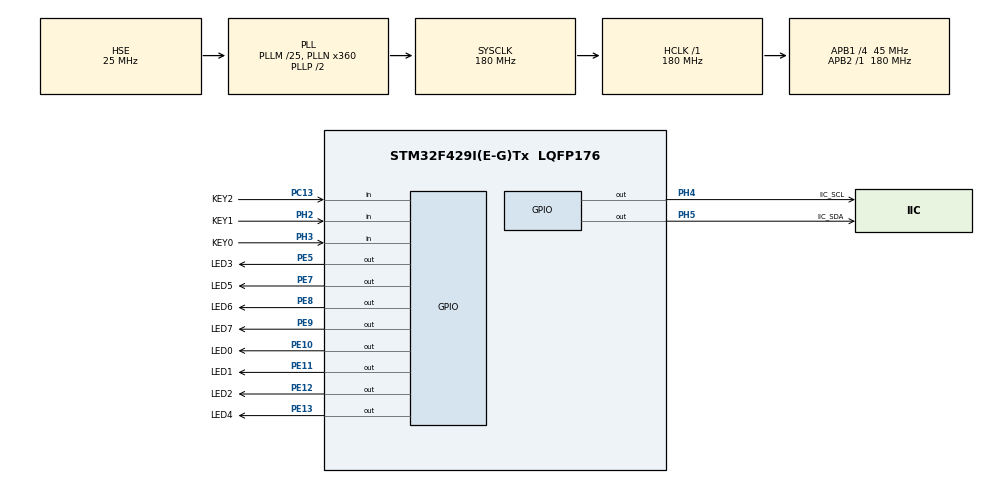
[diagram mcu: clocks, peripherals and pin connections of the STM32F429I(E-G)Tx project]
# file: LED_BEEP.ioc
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Mcu.Family=STM32F4
Mcu.Name=STM32F429I(E-G)Tx
Mcu.Package=LQFP176
NVIC.PriorityGroup=NVIC_PRIORITYGROUP_4
PA13.Mode=Serial_Wire
PA13.Signal=SYS_JTMS-SWDIO
PA14.Mode=Serial_Wire
PA14.Signal=SYS_JTCK-SWCLK
PC13.GPIO_Label=KEY2
PC13.GPIO_PuPd=GPIO_PULLUP
PC13.Signal=GPIO_Input
PE10.GPIO_Label=LED0
PE10.GPIO_ModeDefaultOutputPP=GPIO_MODE_OUTPUT_PP
PE10.GPIO_PuPd=GPIO_PULLUP
PE10.GPIO_Speed=GPIO_SPEED_FREQ_HIGH
PE10.PinState=GPIO_PIN_SET
PE10.Signal=GPIO_Output
PE11.GPIO_Label=LED1
PE11.GPIO_ModeDefaultOutputPP=GPIO_MODE_OUTPUT_PP
PE11.GPIO_PuPd=GPIO_PULLUP
PE11.GPIO_Speed=GPIO_SPEED_FREQ_HIGH
PE11.PinState=GPIO_PIN_SET
PE11.Signal=GPIO_Output
PE12.GPIO_Label=LED2
PE12.GPIO_ModeDefaultOutputPP=GPIO_MODE_OUTPUT_PP
PE12.GPIO_PuPd=GPIO_PULLUP
PE12.GPIO_Speed=GPIO_SPEED_FREQ_HIGH
PE12.PinState=GPIO_PIN_SET
PE12.Signal=GPIO_Output
PE13.GPIO_Label=LED4
PE13.GPIO_ModeDefaultOutputPP=GPIO_MODE_OUTPUT_PP
PE13.GPIO_PuPd=GPIO_PULLUP
PE13.GPIO_Speed=GPIO_SPEED_FREQ_HIGH
PE13.PinState=GPIO_PIN_SET
PE13.Signal=GPIO_Output
PE5.GPIO_Label=LED3
PE5.GPIO_ModeDefaultOutputPP=GPIO_MODE_OUTPUT_PP
PE5.GPIO_PuPd=GPIO_PULLUP
PE5.GPIO_Speed=GPIO_SPEED_FREQ_HIGH
PE5.PinState=GPIO_PIN_SET
PE5.Signal=GPIO_Output
PE7.GPIO_Label=LED5
PE7.GPIO_ModeDefaultOutputPP=GPIO_MODE_OUTPUT_PP
PE7.GPIO_PuPd=GPIO_PULLUP
PE7.GPIO_Speed=GPIO_SPEED_FREQ_HIGH
PE7.PinState=GPIO_PIN_SET
PE7.Signal=GPIO_Output
PE8.GPIO_Label=LED6
PE8.GPIO_ModeDefaultOutputPP=GPIO_MODE_OUTPUT_PP
PE8.GPIO_PuPd=GPIO_PULLUP
PE8.GPIO_Speed=GPIO_SPEED_FREQ_HIGH
PE8.PinState=GPIO_PIN_SET
PE8.Signal=GPIO_Output
PE9.GPIO_Label=LED7
PE9.GPIO_ModeDefaultOutputPP=GPIO_MODE_OUTPUT_PP
PE9.GPIO_PuPd=GPIO_PULLUP
PE9.GPIO_Speed=GPIO_SPEED_FREQ_HIGH
PE9.PinState=GPIO_PIN_SET
PE9.Signal=GPIO_Output
PH4.GPIO_Label=IIC_SCL
PH4.GPIO_ModeDefaultOutputPP=GPIO_MODE_OUTPUT_OD
PH4.GPIO_PuPd=GPIO_PULLUP
PH4.GPIO_Speed=GPIO_SPEED_FREQ_HIGH
PH4.PinState=GPIO_PIN_SET
PH4.Signal=GPIO_Output
PH5.GPIO_Label=IIC_SDA
PH5.GPIO_ModeDefaultOutputPP=GPIO_MODE_OUTPUT_OD
PH5.GPIO_PuPd=GPIO_PULLUP
PH5.GPIO_Speed=GPIO_SPEED_FREQ_HIGH
PH5.PinState=GPIO_PIN_SET
PH5.Signal=GPIO_Output
PH0/OSC_IN.Mode=HSE-External-Oscillator
PH0/OSC_IN.Signal=RCC_OSC_IN
PH1/OSC_OUT.Mode=HSE-External-Oscillator
PH1/OSC_OUT.Signal=RCC_OSC_OUT
PH2.GPIO_Label=KEY1
PH2.GPIO_PuPd=GPIO_PULLUP
PH2.Signal=GPIO_Input
PH3.GPIO_Label=KEY0
PH3.GPIO_PuPd=GPIO_PULLUP
PH3.Signal=GPIO_Input
ProjectManager.HeapSize=0x200
ProjectManager.StackSize=0x400
ProjectManager.TargetToolchain=Makefile
RCC.48MHZClocksFreq_Value=90000000
RCC.AHBFreq_Value=180000000
RCC.APB1CLKDivider=RCC_HCLK_DIV4
RCC.APB1Freq_Value=45000000
RCC.APB1TimFreq_Value=90000000
RCC.APB2Freq_Value=180000000
RCC.APB2TimFreq_Value=180000000
RCC.CortexFreq_Value=180000000
RCC.HCLKFreq_Value=180000000
RCC.HSE_VALUE=25000000
RCC.HSI_VALUE=16000000
RCC.LSE_VALUE=32768
RCC.PLLM=25
RCC.PLLN=360
RCC.PLLSourceVirtual=RCC_PLLSOURCE_HSE
RCC.SYSCLKFreq_VALUE=180000000
RCC.SYSCLKSource=RCC_SYSCLKSOURCE_PLLCLK
RCC.USBFreq_Value=48000000
RCC.VCOOutputFreq_Value=360000000
board=custom

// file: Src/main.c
/* USER CODE BEGIN Header */
/**
  ******************************************************************************
  * @file           : main.c
  * @brief          : 跑马灯 + 蜂鸣器实验  （正点原子阿波罗 V2 STM32F429）
  ******************************************************************************
  * 硬件（正点原子阿波罗 V2 STM32F429 + DNF429-EB 实验箱面包板）
  * ---------------------------------------------------------------------------
  *  8 个外接 LED（低电平点亮）：
  *      LED0 = PE10   LED1 = PE11   LED2 = PE12   LED3 = PE5
  *      LED4 = PE13   LED5 = PE7    LED6 = PE8    LED7 = PE9
  *  4 个按键：
  *      KEY0 = PH3    KEY1 = PH2    KEY2 = PC13   （低电平有效，上拉）
  *      KEY_UP = PA0                              （高电平有效，下拉）
  *  蜂鸣器（板载有源蜂鸣器，不在 GPIO 上！）：
  *      BEEP -> PCF8574（IIC IO 扩展芯片）的 P0
  *      IIC 总线：SCL = PH4，SDA = PH5，器件地址 0x20
  *      驱动：S8550(PNP) 高边开关 -> P0 拉低时鸣响（低电平有效）
  *      实现见 pcf8574.c（软件模拟 IIC）
  *
  * 操作方式：
  *      KEY0 / KEY1 / KEY2 短按 -> 切换特效 0 / 1 / 2
  *      KEY_UP 短按             -> 切换特效 3
  *      KEY_UP 长按(>=600ms)    -> 进入 / 退出"呼吸灯"模式（选做部分）
  *      每次有效按下蜂鸣器只响一次
  *
  * 呼吸灯（选做部分：PWM 占空比渐变实现亮度平滑变化）
  *      8 个 LED 无法全部用硬件 PWM：PE7 只有 TIM1_ETR(外部触发输入)，
  *      PE8/PE10/PE12 只能作 TIM1 的互补输出，因此改用 TIM7 中断做软件 PWM：
  *      20kHz 中断 + 100 级分辨率 -> 200Hz PWM，
  *      占空比按余弦曲线 0 -> 100 -> 0 渐变，8 个灯完全同步呼吸。
  *      实现见 softpwm.c / softpwm.h
  *
  * 系统时钟：HSE 25MHz（PH0/PH1）-> PLL -> 180MHz
  * 调试接口：SWD（PA13/PA14）
  ******************************************************************************
  */
/* USER CODE END Header */
#include "main.h"
#include "gpio.h"
#include "pcf8574.h"
#include "softpwm.h"

/* USER CODE BEGIN PTD */
/* 外设引脚描述：端口 / 引脚 / 有效电平 */
typedef struct
{
  GPIO_TypeDef *port;
  uint16_t      pin;
  GPIO_PinState active_state;
} AppGpioPin;
/* USER CODE END PTD */

/* USER CODE BEGIN PD */
#define LED_COUNT           8U      /* LED 数量 */
#define KEY_COUNT           4U      /* 按键数量 */
#define KEY_DEBOUNCE_MS     20U     /* 按键消抖时间(ms) */
#define EFFECT_INTERVAL_MS  150U    /* 灯效每步间隔(ms) */
#define BEEP_TIME_MS        80U     /* 蜂鸣器鸣响时长(ms) */

#define BEEP_BOOT_SELFTEST  1U      /* 上电"滴"一声：验证 IIC 链路与蜂鸣器 */

/* ---- 呼吸灯（选做部分：PWM 占空比渐变）---- */
#define BREATH_STEPS        64U     /* 一个完整呼吸周期的级数 */
#define BREATH_STEP_MS      40U     /* 每级保持时间(ms)，64*40ms -> 周期约 2.56s */
#define KEY_LONGPRESS_MS    600U    /* KEY_UP 长按判定门限(ms) */
#define KEY_UP_INDEX        3U      /* KEY_UP 在 key_pins[] 中的下标 */

/* KEY_UP 手势判定结果 */
#define KEY_GESTURE_NONE    0U
#define KEY_GESTURE_SHORT   1U      /* 短按：走原来的特效 3 */
#define KEY_GESTURE_LONG    2U      /* 长按：进入 / 退出呼吸灯 */

/* 第 4 个按键 KEY_UP 接在 PA0（WKUP 引脚），CubeMX 不生成其宏，在此定义 */
#ifndef KEY_UP_Pin
#define KEY_UP_Pin          GPIO_PIN_0
#define KEY_UP_GPIO_Port    GPIOA
#endif
/* USER CODE END PD */

/* USER CODE BEGIN PM */
/* 取反：由有效电平推出无效电平 */
#define INACTIVE_STATE(active) ((active) == GPIO_PIN_SET ? GPIO_PIN_RESET : GPIO_PIN_SET)
/* USER CODE END PM */

/* USER CODE BEGIN PV */
/* 8 个 LED 引脚表（顺序即跑马灯顺序），低电平点亮 */
static const AppGpioPin led_pins[LED_COUNT] =
{
  {GPIOE, GPIO_PIN_10, GPIO_PIN_RESET},   /* LED0 */
  {GPIOE, GPIO_PIN_11, GPIO_PIN_RESET},   /* LED1 */
  {GPIOE, GPIO_PIN_12, GPIO_PIN_RESET},   /* LED2 */
  {GPIOE, GPIO_PIN_5,  GPIO_PIN_RESET},   /* LED3 */
  {GPIOE, GPIO_PIN_13, GPIO_PIN_RESET},   /* LED4 */
  {GPIOE, GPIO_PIN_7,  GPIO_PIN_RESET},   /* LED5 */
  {GPIOE, GPIO_PIN_8,  GPIO_PIN_RESET},   /* LED6 */
  {GPIOE, GPIO_PIN_9,  GPIO_PIN_RESET}    /* LED7 */
};

/* 4 个按键：前 3 个低电平有效(上拉)，KEY_UP 高电平有效(下拉) */
static const AppGpioPin key_pins[KEY_COUNT] =
{
  {KEY0_GPIO_Port,   KEY0_Pin,   GPIO_PIN_RESET},   /* PH3  低电平有效 */
  {KEY1_GPIO_Port,   KEY1_Pin,   GPIO_PIN_RESET},   /* PH2  低电平有效 */
  {KEY2_GPIO_Port,   KEY2_Pin,   GPIO_PIN_RESET},   /* PC13 低电平有效 */
  {KEY_UP_GPIO_Port, KEY_UP_Pin, GPIO_PIN_SET}      /* PA0  高电平有效 */
};

/* 按键消抖用：原始值 / 已确认稳态 / 变化时刻 */
static GPIO_PinState key_last_raw[KEY_COUNT];
static GPIO_PinState key_stable[KEY_COUNT];
static uint32_t      key_changed_tick[KEY_COUNT];

/* 灯效状态机 */
static uint8_t  effect_mode      = 0U;  /* 当前特效 0..3 */
static uint8_t  effect_step      = 0U;  /* 当前步进 */
static uint32_t last_effect_tick = 0U;  /* 上次刷新时刻 */
static uint8_t  effect_refresh   = 1U;  /* 1 = 立即刷新 */

/* 蜂鸣器自动关断时刻 + PCF8574 是否就绪 */
static uint32_t beep_stop_tick = 0U;
static uint8_t  beep_ready     = 0U;

/* 呼吸灯模式（选做部分） */
static uint8_t  breath_mode  = 0U;  /* 1 = 当前处于呼吸灯模式 */
static uint8_t  breath_index = 0U;  /* 当前处于占空比表中的第几级 */
static uint32_t breath_tick  = 0U;  /* 上一级亮度的刷新时刻 */
/* USER CODE END PV */

void SystemClock_Config(void);
/* USER CODE BEGIN PFP */
static void APP_GPIO_Init(void);
static void Keys_Init(void);
static uint8_t Key_Update_Debounce(void);
static int8_t Scan_Effect_Key(uint8_t changed_mask);
static uint8_t Scan_KeyUp_Gesture(uint8_t changed_mask);
static void Select_Effect(uint8_t mode);
static void Run_Effect_Task(void);
static void Write_Leds(uint8_t pattern);
static void All_Leds_Off(void);
static void Breath_Init(void);
static void Breath_Toggle(void);
static void Run_Breath_Task(void);
static void Buzzer_Init(void);
static void Buzzer_Write(uint8_t on);
static void Buzzer_Beep(uint32_t duration_ms);
static void Buzzer_Task(void);
/* USER CODE END PFP */

/* USER CODE BEGIN 0 */
/**
  * @brief  应用层 GPIO 初始化
  *         LED -> 推挽输出；按键 -> 输入（按有效电平选上下拉）
  *         注意：PA0(KEY_UP) CubeMX 未生成，这里手动初始化
  *         蜂鸣器不在 GPIO 上（走 PCF8574），见 Buzzer_Init()
  */
static void APP_GPIO_Init(void)
{
  GPIO_InitTypeDef GPIO_InitStruct = {0};

  /* 使能所需端口时钟 */
  __HAL_RCC_GPIOE_CLK_ENABLE();
  __HAL_RCC_GPIOH_CLK_ENABLE();
  __HAL_RCC_GPIOC_CLK_ENABLE();
  __HAL_RCC_GPIOA_CLK_ENABLE();

  /* ---- 8 个 LED：推挽输出、上拉、高速 ---- */
  GPIO_InitStruct.Mode  = GPIO_MODE_OUTPUT_PP;
  GPIO_InitStruct.Pull  = GPIO_PULLUP;
  GPIO_InitStruct.Speed = GPIO_SPEED_FREQ_HIGH;
  for (uint8_t i = 0U; i < LED_COUNT; i++)
  {
    GPIO_InitStruct.Pin = led_pins[i].pin;
    HAL_GPIO_Init(led_pins[i].port, &GPIO_InitStruct);
  }
  All_Leds_Off();                       /* 上电全灭 */

  /* ---- 4 个按键：输入；低电平有效上拉、高电平有效下拉 ---- */
  GPIO_InitStruct.Mode  = GPIO_MODE_INPUT;
  GPIO_InitStruct.Speed = GPIO_SPEED_FREQ_LOW;
  for (uint8_t i = 0U; i < KEY_COUNT; i++)
  {
    GPIO_InitStruct.Pin  = key_pins[i].pin;
    GPIO_InitStruct.Pull = (key_pins[i].active_state == GPIO_PIN_RESET) ?
                           GPIO_PULLUP : GPIO_PULLDOWN;
    HAL_GPIO_Init(key_pins[i].port, &GPIO_InitStruct);
  }
}

/**
  * @brief  记录按键初始状态（避免上电误触发）
  */
static void Keys_Init(void)
{
  uint32_t now = HAL_GetTick();

  for (uint8_t i = 0U; i < KEY_COUNT; i++)
  {
    key_last_raw[i]     = HAL_GPIO_ReadPin(key_pins[i].port, key_pins[i].pin);
    key_stable[i]       = key_last_raw[i];
    key_changed_tick[i] = now;
  }
}

/**
  * @brief  更新全部按键的消抖状态
  * @retval 位掩码：本次"稳定电平发生翻转"的按键（bit i 对应 key_pins[i]）
  * @note   时间戳消抖 KEY_DEBOUNCE_MS；只在电平真正翻转的那一次把对应位置 1，
  *         因此按住不放不会反复产生事件，蜂鸣器也就只响一次。
  */
static uint8_t Key_Update_Debounce(void)
{
  uint32_t now          = HAL_GetTick();
  uint8_t  changed_mask = 0U;

  for (uint8_t i = 0U; i < KEY_COUNT; i++)
  {
    GPIO_PinState raw = HAL_GPIO_ReadPin(key_pins[i].port, key_pins[i].pin);

    /* 原始电平变化 -> 重新计时 */
    if (raw != key_last_raw[i])
    {
      key_last_raw[i]     = raw;
      key_changed_tick[i] = now;
    }

    /* 稳定超过消抖时间，且与已确认状态不同 -> 确认翻转 */
    if (((uint32_t)(now - key_changed_tick[i]) >= KEY_DEBOUNCE_MS) &&
        (raw != key_stable[i]))
    {
      key_stable[i] = raw;
      changed_mask |= (uint8_t)(1U << i);
    }
  }

  return changed_mask;
}

/**
  * @brief  从按键翻转中取出"特效选择键按下"事件（KEY0 / KEY1 / KEY2）
  * @param  changed_mask Key_Update_Debounce() 的返回值
  * @retval 0..2 = 对应按键刚按下；-1 = 无事件
  * @note   KEY_UP 不在这里处理：它需要区分短按与长按，见 Scan_KeyUp_Gesture()。
  */
static int8_t Scan_Effect_Key(uint8_t changed_mask)
{
  for (uint8_t i = 0U; i < KEY_UP_INDEX; i++)
  {
    if (((changed_mask & (uint8_t)(1U << i)) != 0U) &&
        (key_stable[i] == key_pins[i].active_state))
    {
      return (int8_t)i;
    }
  }

  return -1;
}

/**
  * @brief  KEY_UP 手势识别：短按 / 长按
  * @param  changed_mask Key_Update_Debounce() 的返回值
  * @retval KEY_GESTURE_NONE / KEY_GESTURE_SHORT / KEY_GESTURE_LONG
  * @note   短按动作要等"松手"才判定，这样按住不放时不会先误切一次特效 3；
  *         长按在按住过程中就触发且只触发一次，松手后也不再补发短按。
  */
static uint8_t Scan_KeyUp_Gesture(uint8_t changed_mask)
{
  static uint8_t  pressed    = 0U;   /* 当前是否按住 KEY_UP */
  static uint8_t  long_fired = 0U;   /* 本次按住是否已判为长按 */
  static uint32_t press_tick = 0U;   /* 按下时刻 */

  /* 处理按下 / 松开边沿（已消抖） */
  if ((changed_mask & (uint8_t)(1U << KEY_UP_INDEX)) != 0U)
  {
    if (key_stable[KEY_UP_INDEX] == key_pins[KEY_UP_INDEX].active_state)
    {
      pressed    = 1U;
      long_fired = 0U;
      press_tick = HAL_GetTick();
    }
    else
    {
      pressed = 0U;

      if (long_fired == 0U)          /* 没到长按门限就松手 -> 判为短按 */
      {
        return KEY_GESTURE_SHORT;
      }
    }
  }

  /* 按住过程中到达长按门限 -> 立即触发一次 */
  if ((pressed != 0U) && (long_fired == 0U) &&
      ((uint32_t)(HAL_GetTick() - press_tick) >= KEY_LONGPRESS_MS))
  {
    long_fired = 1U;
    return KEY_GESTURE_LONG;
  }

  return KEY_GESTURE_NONE;
}

/**
  * @brief  切换灯效（按键按下时调用），并触发一次蜂鸣
  */
static void Select_Effect(uint8_t mode)
{
  /* 若正处于呼吸灯模式，先退出：把 LED 的控制权从软件 PWM 交还给普通 GPIO */
  if (breath_mode != 0U)
  {
    breath_mode = 0U;
    SoftPwm_Enable(0U);
  }

  effect_mode    = (uint8_t)(mode % KEY_COUNT);
  effect_step    = 0U;
  effect_refresh = 1U;
  Buzzer_Beep(BEEP_TIME_MS);            /* 每次有效按下只响一次 */
}

/**
  * @brief  灯效任务：每 EFFECT_INTERVAL_MS 推进一次
  *         4 种特效：单点移动 / 逐格点亮 / 奇偶交替 / 全亮全灭
  */
static void Run_Effect_Task(void)
{
  /* KEY0：单个 LED 依次移动 */
  static const uint8_t key0_patterns[] =
  {
    0x01U, 0x02U, 0x04U, 0x08U, 0x10U, 0x20U, 0x40U, 0x80U
  };
  /* KEY1：LED 逐格点亮（累加），最后清空 */
  static const uint8_t key1_patterns[] =
  {
    0x01U, 0x03U, 0x07U, 0x0FU, 0x1FU, 0x3FU, 0x7FU, 0xFFU, 0x00U
  };
  /* KEY2：奇数位与偶数位交替闪 */
  static const uint8_t key2_patterns[] =
  {
    0x55U, 0xAAU
  };
  /* KEY_UP：全部一起闪 */
  static const uint8_t key3_patterns[] =
  {
    0xFFU, 0x00U
  };

  uint8_t  pattern       = 0U;
  uint8_t  pattern_count = 0U;
  uint32_t now           = HAL_GetTick();

  /* 未到刷新时间且非强制刷新 -> 直接返回（非阻塞） */
  if ((effect_refresh == 0U) &&
      ((uint32_t)(now - last_effect_tick) < EFFECT_INTERVAL_MS))
  {
    return;
  }

  effect_refresh   = 0U;
  last_effect_tick = now;

  switch (effect_mode)
  {
    case 0U:  /* KEY0 */
      pattern       = key0_patterns[effect_step];
      pattern_count = (uint8_t)(sizeof(key0_patterns) / sizeof(key0_patterns[0]));
      break;

    case 1U:  /* KEY1 */
      pattern       = key1_patterns[effect_step];
      pattern_count = (uint8_t)(sizeof(key1_patterns) / sizeof(key1_patterns[0]));
      break;

    case 2U:  /* KEY2 */
      pattern       = key2_patterns[effect_step];
      pattern_count = (uint8_t)(sizeof(key2_patterns) / sizeof(key2_patterns[0]));
      break;

    default:  /* KEY_UP */
      pattern       = key3_patterns[effect_step];
      pattern_count = (uint8_t)(sizeof(key3_patterns) / sizeof(key3_patterns[0]));
      break;
  }

  Write_Leds(pattern);
  effect_step = (uint8_t)((effect_step + 1U) % pattern_count);
}

/**
  * @brief  按位模式写 8 个 LED（bit0 -> LED0 ... bit7 -> LED7）
  */
static void Write_Leds(uint8_t pattern)
{
  for (uint8_t i = 0U; i < LED_COUNT; i++)
  {
    GPIO_PinState state = ((pattern & (uint8_t)(1U << i)) != 0U) ?
                          led_pins[i].active_state :
                          INACTIVE_STATE(led_pins[i].active_state);

    HAL_GPIO_WritePin(led_pins[i].port, led_pins[i].pin, state);
  }
}

/**
  * @brief  全部 LED 熄灭
  */
static void All_Leds_Off(void)
{
  Write_Leds(0x00U);
}

/* ---------------------- 呼吸灯（选做部分：软件 PWM） ---------------------- */

/**
  * @brief  呼吸灯初始化：把 8 个 LED 引脚登记给软件 PWM 模块
  * @note   引脚方向已在 APP_GPIO_Init() 中配成推挽输出，这里只做登记。
  *         LED 表与跑马灯共用 led_pins[]，因此不存在两处定义不一致的问题。
  */
static void Breath_Init(void)
{
  SoftPwmChannel channels[LED_COUNT];

  for (uint8_t i = 0U; i < LED_COUNT; i++)
  {
    channels[i].port         = led_pins[i].port;
    channels[i].pin          = led_pins[i].pin;
    channels[i].active_state = led_pins[i].active_state;
  }

  SoftPwm_Init(channels, LED_COUNT);
}

/**
  * @brief  进入 / 退出呼吸灯模式（KEY_UP 长按时调用）
  * @note   进入时从占空比 0 起步，熄灯状态下慢慢亮起，不会有突变感；
  *         退出时停止 PWM，驱动内部会把 8 个灯全部熄灭。
  */
static void Breath_Toggle(void)
{
  if (breath_mode == 0U)
  {
    breath_mode  = 1U;
    breath_index = 0U;
    breath_tick  = HAL_GetTick();
    SoftPwm_SetDuty(0U);
    SoftPwm_Enable(1U);
  }
  else
  {
    breath_mode    = 0U;
    SoftPwm_Enable(0U);
    effect_refresh = 1U;           /* 回到灯效后立即重画一帧，不等 150ms */
  }

  Buzzer_Beep(BEEP_TIME_MS);       /* 每次有效按下只响一次 */
}

/**
  * @brief  呼吸灯任务：按余弦曲线把占空比 0 -> 100 -> 0 缓慢推进
  * @note   表值 = round(50 * (1 - cos(2*PI*i/64)))，即占空比 0..100。
  *         余弦曲线两端变化慢、中间变化快，比线性三角波更接近自然呼吸的节奏，
  *         不会在亮度高低两端出现"顿一下"的感觉。
  */
static void Run_Breath_Task(void)
{
  /* 一个完整呼吸周期的占空比表（单位：1/100，即 0..SOFTPWM_STEPS） */
  static const uint8_t breath_duty[BREATH_STEPS] =
  {
     0U,  0U,  1U,  2U,  4U,  6U,  8U, 11U,
    15U, 18U, 22U, 26U, 31U, 35U, 40U, 45U,
    50U, 55U, 60U, 65U, 69U, 74U, 78U, 82U,
    85U, 89U, 92U, 94U, 96U, 98U, 99U, 100U,
   100U, 99U, 98U, 96U, 94U, 92U, 89U, 85U,
    82U, 78U, 74U, 69U, 65U, 60U, 55U, 50U,
    45U, 40U, 35U, 31U, 26U, 22U, 18U, 15U,
    11U,  8U,  6U,  4U,  2U,  1U,  0U,  0U
  };

  uint32_t now = HAL_GetTick();

  /* 非阻塞：每 BREATH_STEP_MS 才推进一级亮度 */
  if ((uint32_t)(now - breath_tick) < BREATH_STEP_MS)
  {
    return;
  }
  breath_tick = now;

  SoftPwm_SetDuty(breath_duty[breath_index]);
  breath_index = (uint8_t)((breath_index + 1U) % BREATH_STEPS);
}

/**
  * @brief  蜂鸣器初始化：初始化 PCF8574（软件 IIC @ PH4/PH5）
  * @note   板载有源蜂鸣器挂在 PCF8574 的 P0，经 S8550(PNP) 高边开关驱动，
  *         低电平鸣响。若 PCF8574 无应答（IIC 有问题），beep_ready 保持 0，
  *         后续按键不会去访问总线。
  */
static void Buzzer_Init(void)
{
  beep_ready = (PCF8574_Init() == 0U) ? 1U : 0U;

  if (beep_ready != 0U)
  {
    Buzzer_Write(0U);                 /* 确保上电不响 */
  }
}

/**
  * @brief  写蜂鸣器（on != 0 -> 响）
  */
static void Buzzer_Write(uint8_t on)
{
  if (beep_ready == 0U)
  {
    return;
  }

  (void)PCF8574_WriteBit(PCF8574_BEEP_BIT,
                         (on != 0U) ? PCF8574_BEEP_ON : PCF8574_BEEP_OFF);
}

/**
  * @brief  启动一次蜂鸣（非阻塞，到时由 Buzzer_Task 关断）
  */
static void Buzzer_Beep(uint32_t duration_ms)
{
  if (beep_ready == 0U)
  {
    return;
  }

  Buzzer_Write(1U);
  beep_stop_tick = HAL_GetTick() + duration_ms;
}

/**
  * @brief  蜂鸣器关断任务
  */
static void Buzzer_Task(void)
{
  if ((beep_stop_tick != 0U) &&
      ((int32_t)(HAL_GetTick() - beep_stop_tick) >= 0))
  {
    Buzzer_Write(0U);
    beep_stop_tick = 0U;
  }
}
/* USER CODE END 0 */

int main(void)
{

  /* MCU Configuration--------------------------------------------------------*/

  /* Reset of all peripherals, Initializes the Flash interface and the Systick. */
  HAL_Init();

  /* Configure the system clock */
  SystemClock_Config();

  /* Initialize all configured peripherals */
  MX_GPIO_Init();
  /* USER CODE BEGIN 2 */
  APP_GPIO_Init();      /* 应用层 GPIO（含 KEY_UP） */
  Breath_Init();        /* 呼吸灯：登记 8 个 LED + 配置 TIM7 软件 PWM 时基 */
  Buzzer_Init();        /* 蜂鸣器：PCF8574 软件 IIC @ PH4/PH5 */
  Keys_Init();          /* 记录按键初态，防上电误触发 */
  Select_Effect(0U);    /* 默认进入特效 0 */

#if BEEP_BOOT_SELFTEST
  /* 上电"滴"一声：能听到就说明 IIC 链路 + 蜂鸣器都正常 */
  Buzzer_Beep(120U);
  HAL_Delay(200U);
#endif
  /* USER CODE END 2 */

  /* Infinite loop */
  /* USER CODE BEGIN WHILE */
  while (1)
  {
    uint8_t changed_mask = Key_Update_Debounce();   /* 按键消抖，得到翻转掩码 */
    int8_t  effect_key   = Scan_Effect_Key(changed_mask);
    uint8_t gesture;

    /* KEY0 / KEY1 / KEY2 短按 -> 切换对应特效 */
    if (effect_key >= 0)
    {
      Select_Effect((uint8_t)effect_key);
    }

    /* KEY_UP：短按选特效 3，长按进入/退出呼吸灯 */
    gesture = Scan_KeyUp_Gesture(changed_mask);
    if (gesture == KEY_GESTURE_LONG)
    {
      Breath_Toggle();
    }
    else if (gesture == KEY_GESTURE_SHORT)
    {
      Select_Effect(KEY_UP_INDEX);
    }

    /* 两种模式互斥：呼吸灯模式下 LED 由软件 PWM 接管，跑马灯不再刷灯 */
    if (breath_mode != 0U)
    {
      Run_Breath_Task();
    }
    else
    {
      Run_Effect_Task();              /* 灯效推进（非阻塞） */
    }

    Buzzer_Task();                    /* 蜂鸣器到时关断 */
    /* USER CODE END WHILE */

  }
}

void SystemClock_Config(void)
{
  RCC_OscInitTypeDef RCC_OscInitStruct = {0};
  RCC_ClkInitTypeDef RCC_ClkInitStruct = {0};

  /** Configure the main internal regulator output voltage
  */
  __HAL_RCC_PWR_CLK_ENABLE();
  __HAL_PWR_VOLTAGESCALING_CONFIG(PWR_REGULATOR_VOLTAGE_SCALE1);

  /** Initializes the RCC Oscillators according to the specified parameters
  * in the RCC_OscInitTypeDef structure.
  */
  RCC_OscInitStruct.OscillatorType = RCC_OSCILLATORTYPE_HSE;
  RCC_OscInitStruct.HSEState = RCC_HSE_ON;
  RCC_OscInitStruct.PLL.PLLState = RCC_PLL_ON;
  RCC_OscInitStruct.PLL.PLLSource = RCC_PLLSOURCE_HSE;
  RCC_OscInitStruct.PLL.PLLM = 25;
  RCC_OscInitStruct.PLL.PLLN = 360;
  RCC_OscInitStruct.PLL.PLLP = RCC_PLLP_DIV2;
  RCC_OscInitStruct.PLL.PLLQ = 4;
  if (HAL_RCC_OscConfig(&RCC_OscInitStruct) != HAL_OK)
  {
    Error_Handler();
  }

  /** Activate Over-Drive mode to reach 180 MHz
  */
  if (HAL_PWREx_EnableOverDrive() != HAL_OK)
  {
    Error_Handler();
  }

  /** Initializes the CPU, AHB and APB buses clocks
  */
  RCC_ClkInitStruct.ClockType = RCC_CLOCKTYPE_HCLK|RCC_CLOCKTYPE_SYSCLK
                              |RCC_CLOCKTYPE_PCLK1|RCC_CLOCKTYPE_PCLK2;
  RCC_ClkInitStruct.SYSCLKSource = RCC_SYSCLKSOURCE_PLLCLK;
  RCC_ClkInitStruct.AHBCLKDivider = RCC_SYSCLK_DIV1;
  RCC_ClkInitStruct.APB1CLKDivider = RCC_HCLK_DIV4;
  RCC_ClkInitStruct.APB2CLKDivider = RCC_HCLK_DIV1;

  if (HAL_RCC_ClockConfig(&RCC_ClkInitStruct, FLASH_LATENCY_5) != HAL_OK)
  {
    Error_Handler();
  }
}

void Error_Handler(void)
{
  __disable_irq();
  while (1)
  {
  }
}

#ifdef  USE_FULL_ASSERT
/**
  * @brief  Reports the name of the source file and the source line number
  *         where the assert_param error has occurred.
  * @param  file: pointer to the source file name
  * @param  line: assert_param error line source number
  * @retval None
  */
void assert_failed(uint8_t *file, uint32_t line)
{
  /* USER CODE BEGIN 6 */
  /* User can add his own implementation to report the file name and line number,
     ex: printf("Wrong parameters value: file %s on line %d\r\n", file, line) */
  (void)file;
  (void)line;
  /* USER CODE END 6 */
}
#endif /* USE_FULL_ASSERT */
